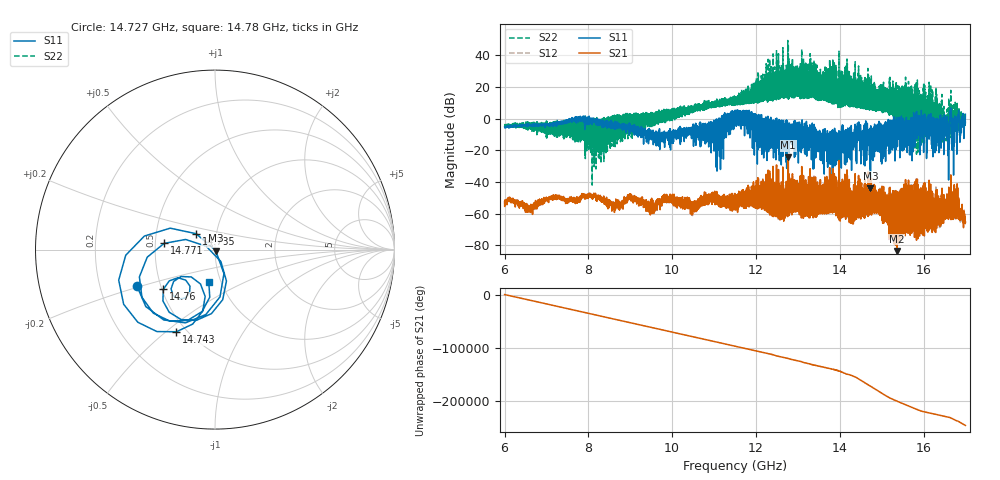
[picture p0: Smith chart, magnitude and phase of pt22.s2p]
#  HZ  S  RI  R  50.00
! Rohde & Schwarz Vector Network Analyzer
! Rohde-Schwarz,ZNA67-2Port,1332450062101215,3.01
! Created: UTC 10/15/2026, 2:51:11 PM
! freq[Hz]  re:S11  im:S11  re:S21  im:S21  re:S12  im:S12  re:S22  im:S22
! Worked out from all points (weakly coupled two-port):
!   11001 points, 6 GHz to 17 GHz, reference 50 ohm
!   highest |S21| = -24.58 dB at 12.772 GHz (marker M1); lowest = -83.8 dB at 15.365 GHz (marker M2)
!   lowest |S11| = -44.0 dB at 14.734 GHz (marker M3), VSWR 1.01, Z = 50.4 - j0.518 ohm
!   |S11| at or under -10 dB: 13.65211 GHz to 13.7016 GHz (49.49 MHz wide, 0.362 % of centre); 13.7201 GHz to 13.7695 GHz (49.39 MHz wide, 0.359 % of centre); 14.08083 GHz to 14.12742 GHz (46.59 MHz wide, 0.33 % of centre) (the widest 3 of 479)
!   |S22| runs from -42.0 to 49.4 dB; largest |S21 - S12| = 0.0026
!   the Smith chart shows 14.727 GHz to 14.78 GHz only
!   S11 on the Smith chart (normalised r, x): 14.727 GHz: 0.37, -0.19; 14.735 GHz: 0.80, +0.14; 14.743 GHz: 0.44, -0.54; 14.76 GHz: 0.51, -0.26; 14.771 GHz: 0.56, +0.04; 14.78 GHz: 0.88, -0.32
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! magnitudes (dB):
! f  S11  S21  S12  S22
! 6 GHz  -5.3  -52.4  -52.5  -4.4
! 6.586 GHz  -4.4  -57.5  -57.5  -5.6
! 7.834 GHz  -0.4  -48.5  -48.4  -12.2
! 9.667 GHz  -10.5  -53.3  -53.4  -2.4
! 11.053 GHz  -0.4  -49.0  -48.8  9.8
! 11.5 GHz  4.8  -54.5  -54.5  9.5
! 12.772 GHz  -7.2  -24.6  -24.5  47.1
! 13.334 GHz  -6.5  -56.7  -56.1  16.7
! 13.85 GHz  -19.1  -57.8  -58.0  9.2
! 14.288 GHz  -15.0  -60.9  -60.9  13.2
! 14.727 GHz  -6.4  -58.5  -58.2  5.6
! 14.734 GHz  -44.0  -55.7  -55.8  12.1
! 14.735 GHz  -17.3  -54.6  -54.2  12.0
! 14.743 GHz  -5.9  -52.3  -52.1  15.1
! 14.76 GHz  -8.8  -61.0  -60.7  6.7
! 14.771 GHz  -10.9  -58.3  -58.3  7.7
! 14.78 GHz  -14.8  -59.0  -58.8  8.8
! 15.167 GHz  -9.3  -62.0  -61.8  7.3
! 15.365 GHz  -9.9  -83.8  -85.2  -0.3
! 16.543 GHz  -11.2  -56.7  -56.6  -7.1
! 16.786 GHz  -8.8  -60.8  -61.0  -7.4
! 17 GHz  2.7  -65.6  -64.7  -1.9
